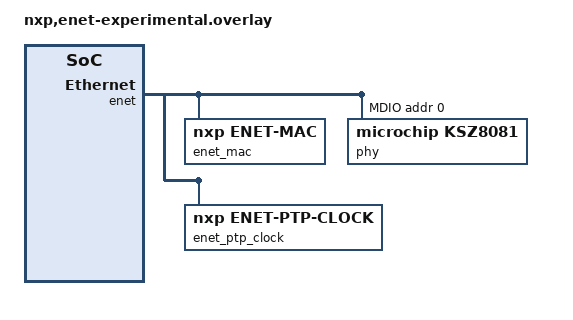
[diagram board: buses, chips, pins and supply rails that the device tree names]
/*
 * Copyright 2023 NXP
 *
 * Experimental ENET binding overlay
 */

/ {
	soc {
		/delete-node/ ethernet@400c0000;

		enet: ethernet@400c0000 {
			compatible = "nxp,enet";
			reg = <0x400c0000 0x620>;
			clocks = <&sim KINETIS_SIM_ENET_CLK 0 0>;
			enet_mac: ethernet {
				compatible = "nxp,enet-mac";
				interrupts = <83 0>, <84 0>, <85 0>;
				interrupt-names = "TX", "RX", "ERR";
				nxp,mdio = <&enet_mdio>;
				nxp,ptp-clock = <&enet_ptp_clock>;
				phy-connection-type = "rmii";
				status = "disabled";
			};
			enet_mdio: mdio {
				compatible = "nxp,enet-mdio";
				status = "disabled";
				#address-cells = <1>;
				#size-cells = <0>;
			};
			enet_ptp_clock: ptp_clock {
				compatible = "nxp,enet-ptp-clock";
				interrupts = <82 0>;
				interrupt-names = "IEEE1588_TMR";
				status = "disabled";
			};
		};
	};
};

&enet_mac {
	status = "okay";
	pinctrl-0 = <&pinmux_enet>;
	pinctrl-names = "default";
	phy-handle = <&phy>;
	zephyr,random-mac-address;
};


&enet_mdio {
	status = "okay";
	pinctrl-0 = <&pinmux_enet_mdio>;
	pinctrl-names = "default";
	phy: phy@0 {
		compatible = "microchip,ksz8081";
		reg = <0>;
		status = "okay";
		mc,interface-type = "rmii-25MHz";
	};
};

&enet_ptp_clock {
	status = "okay";
	pinctrl-0 = <&pinmux_ptp>;
	pinctrl-names = "default";
};

&pinctrl {
	/delete-node/ ptp_default;
	/delete-node/ enet_default;

	pinmux_enet: pinmux_enet {
		group1 {
			pinmux = <RMII0_RXER_PTA5>,
				<RMII0_RXD1_PTA12>,
				<RMII0_RXD0_PTA13>,
				<RMII0_CRS_DV_PTA14>,
				<RMII0_TXEN_PTA15>,
				<RMII0_TXD0_PTA16>,
				<RMII0_TXD1_PTA17>;
			drive-strength = "low";
			slew-rate = "fast";
		};
	};

	pinmux_enet_mdio: pinmux_enet_mdio {
		group0 {
			pinmux = <RMII0_MDIO_PTB0>;
			drive-strength = "low";
			drive-open-drain;
			bias-pull-up;
			slew-rate = "fast";
		};
		group1 {
			pinmux = <RMII0_MDC_PTB1>;
			drive-strength = "low";
			slew-rate = "fast";
		};
	};

	pinmux_ptp: pinmux_ptp {
		group0 {
			pinmux = <ENET0_1588_TMR0_PTC16>,
				<ENET0_1588_TMR1_PTC17>,
				<ENET0_1588_TMR2_PTC18>;
			drive-strength = "low";
			slew-rate = "fast";
		};
	};
};
